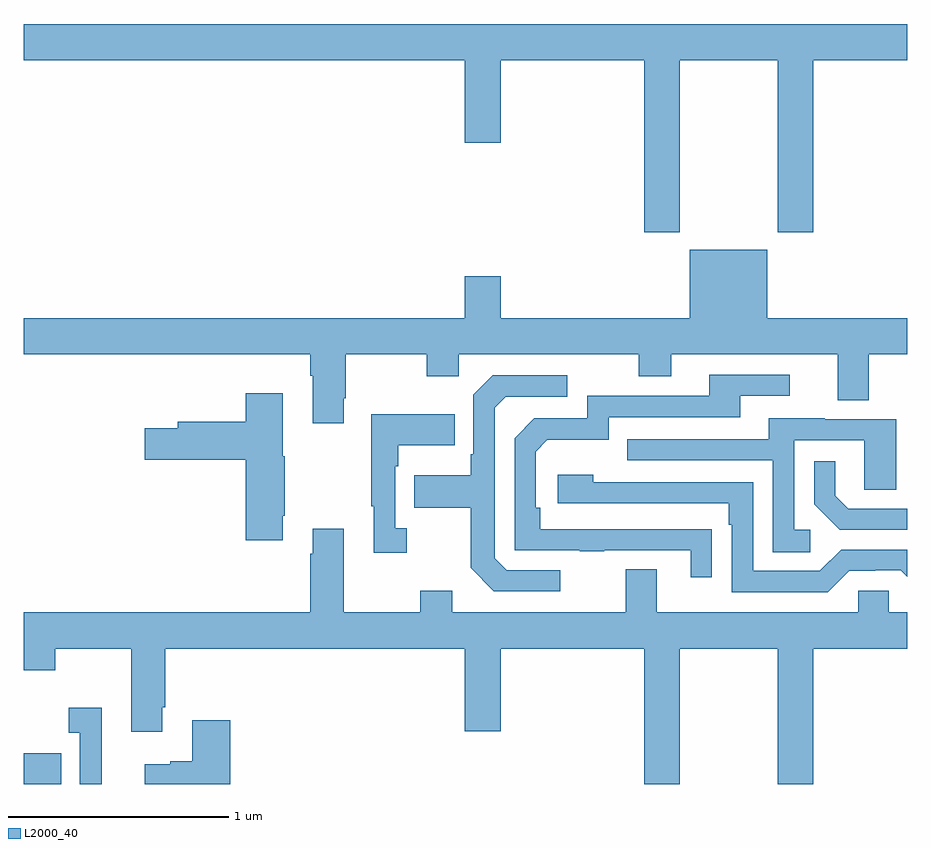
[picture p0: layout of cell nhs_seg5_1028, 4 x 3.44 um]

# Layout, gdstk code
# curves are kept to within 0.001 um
import gdstk
lib = gdstk.Library(unit=1e-6, precision=1e-09)
def R(c, l, rs):  # rectangles x0, y0, x1, y1
    for r in rs: c.add(gdstk.rectangle(r[:2], r[2:], *l))
def P(c, l, *ps):  # polygons
    for p in ps: c.add(gdstk.Polygon(p, *l))
L2000_40 = (2000, 40)

nhs_seg5_1028 = lib.new_cell('nhs_seg5_1028')
R(nhs_seg5_1028, L2000_40, [(175,870.799,175.169,870.939)])
P(nhs_seg5_1028, L2000_40, [(177.969,874.076),(178.414,874.076),(178.414,873.297),(178.574,873.297),(178.574,874.076),(179,874.076),(179,874.24),(175,874.24),(175,874.076),(176.996,874.076),(176.996,873.702),(177.16,873.702),(177.16,874.076),(177.809,874.076),(177.809,873.297),(177.969,873.297)],
  [(176.449,872.545),(176.457,872.545),(176.457,872.744),(176.824,872.744),(176.824,872.645),(176.97,872.645),(176.97,872.744),(177.784,872.744),(177.784,872.645),(177.931,872.645),(177.931,872.744),(178.685,872.744),(178.685,872.536),(178.825,872.536),(178.825,872.744),(179,872.744),(179,872.908),(178.366,872.908),(178.366,873.217),(178.016,873.217),(178.016,872.908),(177.16,872.908),(177.16,873.097),(176.996,873.097),(176.996,872.908),(175,872.908),(175,872.744),(176.297,872.744),(176.297,872.648),(176.309,872.648),(176.309,872.433),(176.449,872.433)],
  [(178.115,871.952),(177.338,871.953),(177.338,872.05),(177.318,872.05),(177.318,872.304),(177.371,872.357),(177.648,872.357),(177.648,872.46),(178.243,872.46),(178.243,872.556),(178.468,872.556),(178.468,872.652),(178.103,872.652),(178.103,872.556),(177.552,872.556),(177.552,872.454),(177.312,872.454),(177.222,872.364),(177.222,871.857),(177.517,871.857),(177.517,871.852),(177.629,871.852),(177.629,871.857),(178.019,871.857),(178.019,871.734),(178.115,871.734)],
  [(177.43,871.767),(177.186,871.767),(177.132,871.821),(177.132,872.502),(177.183,872.553),(177.46,872.553),(177.46,872.649),(177.123,872.649),(177.036,872.562),(177.036,872.293),(177.024,872.293),(177.024,872.197),(176.767,872.197),(176.767,872.05),(177.024,872.05),(177.024,871.777),(177.129,871.671),(177.43,871.671)],
  [(176.173,872.014),(176.181,872.014),(176.181,872.283),(176.173,872.283),(176.173,872.569),(176.006,872.569),(176.006,872.439),(175.697,872.439),(175.697,872.409),(175.548,872.409),(175.548,872.267),(176.006,872.267),(176.006,871.902),(176.173,871.902)],
  [(176.734,871.958),(176.682,871.958),(176.682,872.237),(176.695,872.237),(176.695,872.333),(176.951,872.333),(176.951,872.473),(176.574,872.473),(176.574,872.057),(176.585,872.057),(176.585,871.845),(176.734,871.845)],
  [(178.561,871.95),(178.488,871.95),(178.488,872.355),(178.806,872.355),(178.806,872.131),(178.951,872.131),(178.951,872.451),(178.627,872.451),(178.627,872.455),(178.373,872.455),(178.373,872.361),(177.733,872.361),(177.733,872.265),(178.392,872.265),(178.392,871.849),(178.561,871.849)],
  [(179,872.046),(178.732,872.046),(178.675,872.103),(178.675,872.26),(178.578,872.26),(178.578,872.066),(178.694,871.95),(179,871.95)],
  [(178.737,871.764),(178.856,871.764),(178.856,871.767),(178.971,871.767),(179,871.738),(179,871.86),(178.701,871.86),(178.605,871.764),(178.302,871.764),(178.302,872.166),(177.578,872.166),(177.578,872.2),(177.417,872.2),(177.417,872.07),(178.193,872.07),(178.193,871.973),(178.206,871.973),(178.206,871.668),(178.641,871.668)],
  [(177.969,871.412),(178.414,871.412),(178.414,870.799),(178.574,870.799),(178.574,871.412),(179,871.412),(179,871.576),(178.917,871.576),(178.917,871.674),(178.779,871.674),(178.779,871.576),(177.865,871.576),(177.865,871.771),(177.725,871.771),(177.725,871.576),(176.941,871.576),(176.941,871.675),(176.794,871.675),(176.794,871.576),(176.449,871.576),(176.449,871.954),(176.309,871.954),(176.309,871.841),(176.297,871.841),(176.297,871.576),(175,871.576),(175,871.313),(175.143,871.313),(175.143,871.412),(175.487,871.412),(175.487,871.035),(175.627,871.035),(175.627,871.147),(175.64,871.147),(175.64,871.412),(176.996,871.412),(176.996,871.038),(177.16,871.038),(177.16,871.412),(177.809,871.412),(177.809,870.799),(177.969,870.799)],
  [(175.352,871.144),(175.203,871.144),(175.203,871.031),(175.254,871.031),(175.254,870.799),(175.352,870.799)],
  [(175.936,871.087),(175.763,871.087),(175.763,870.902),(175.664,870.902),(175.664,870.889),(175.548,870.889),(175.548,870.799),(175.936,870.799)])

lib.write_gds('nhs_seg5_1028.gds')
